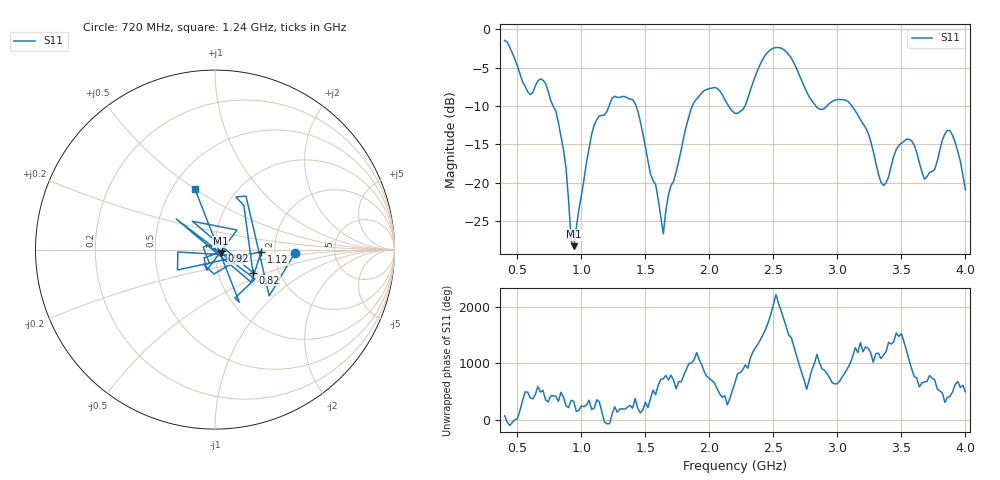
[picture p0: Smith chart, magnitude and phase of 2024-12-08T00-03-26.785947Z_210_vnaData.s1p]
!Created with skrf (http://scikit-rf.org).
# Hz S RI R 50.0
!freq ReS11 ImS11
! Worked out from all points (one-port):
!   181 points, 400 MHz to 4 GHz, reference 50 ohm
!   lowest |S11| = -28.3 dB at 940 MHz (marker M1), VSWR 1.08, Z = 53.3 - j2.2 ohm
!   |S11| at or under -10 dB: 779.4 MHz to 1.216 GHz (436.6 MHz wide, 43.8 % of centre); 1.427 GHz to 1.866 GHz (438.9 MHz wide, 26.7 % of centre); 3.114 GHz to end of sweep (the widest 3 of 5)
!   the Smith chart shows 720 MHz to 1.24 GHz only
!   S11 on the Smith chart (normalised r, x): 720 MHz: 2.59, -0.14; 820 MHz: 1.47, -0.40; 920 MHz: 1.08, -0.02; 1.12 GHz: 1.69, -0.04; 1.24 GHz: 0.65, +0.50
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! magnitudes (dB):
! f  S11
! 400 MHz  -1.4
! 600 MHz  -8.5
! 720 MHz  -7.0
! 820 MHz  -12.1
! 860 MHz  -15.7
! 920 MHz  -27.6
! 940 MHz  -28.3
! 1.06 GHz  -15.5
! 1.12 GHz  -11.8
! 1.24 GHz  -9.0
! 1.3 GHz  -8.9
! 1.44 GHz  -10.6
! 1.64 GHz  -26.7
! 1.68 GHz  -21.6
! 1.76 GHz  -17.2
! 1.86 GHz  -10.2
! 1.96 GHz  -8.0
! 2.2 GHz  -10.9
! 2.46 GHz  -2.9
! 2.66 GHz  -4.3
! 2.84 GHz  -10.2
! 3.1 GHz  -9.7
! 3.24 GHz  -13.5
! 3.36 GHz  -20.4
! 3.56 GHz  -14.3
! 3.68 GHz  -19.5
! 3.88 GHz  -13.2
! 4 GHz  -20.9
